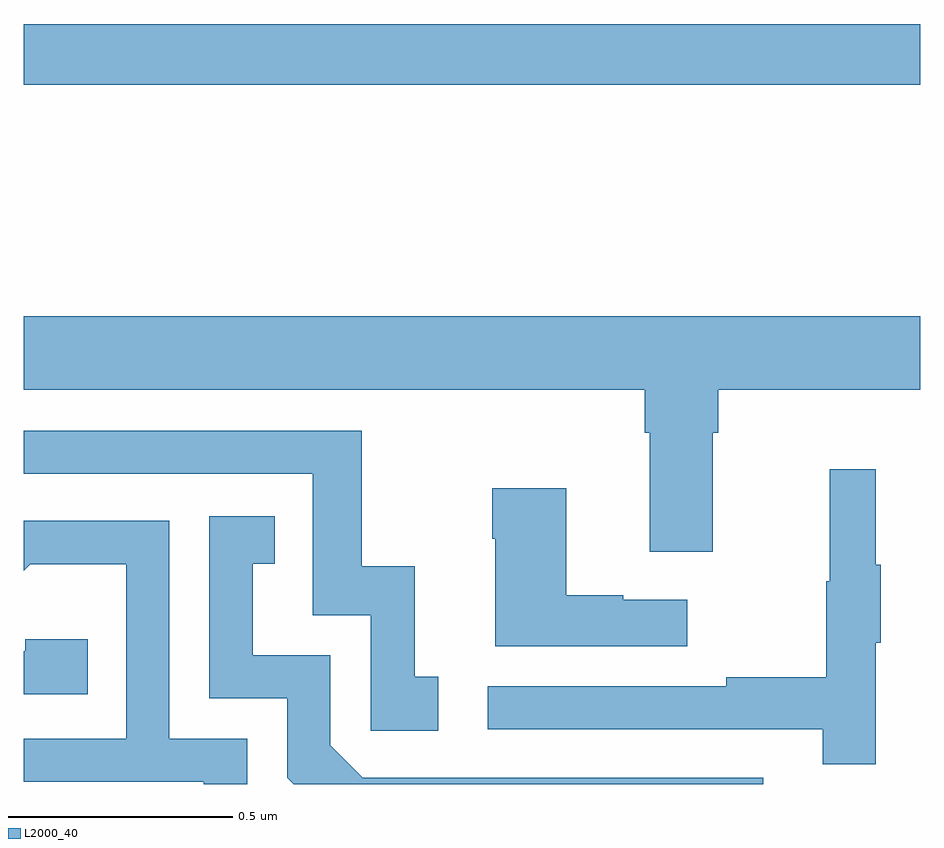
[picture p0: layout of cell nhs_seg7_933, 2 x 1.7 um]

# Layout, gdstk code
import gdstk
lib = gdstk.Library(unit=1e-6, precision=1e-09)
def R(c, l, rs):  # rectangles x0, y0, x1, y1
    for r in rs: c.add(gdstk.rectangle(r[:2], r[2:], *l))
def P(c, l, *ps):  # polygons
    for p in ps: c.add(gdstk.Polygon(p, *l))
L2000_40 = (2000, 40)

nhs_seg7_933 = lib.new_cell('nhs_seg7_933')
R(nhs_seg7_933, L2000_40, [(123,1070.56,125,1070.696)])
P(nhs_seg7_933, L2000_40, [(124.537,1069.784),(124.55,1069.784),(124.55,1069.88),(125,1069.88),(125,1070.044),(123,1070.044),(123,1069.88),(124.385,1069.88),(124.385,1069.784),(124.397,1069.784),(124.397,1069.518),(124.537,1069.518)],
  [(123.925,1069.239),(123.872,1069.239),(123.872,1069.486),(123.754,1069.486),(123.754,1069.788),(123,1069.788),(123,1069.692),(123.645,1069.692),(123.645,1069.377),(123.774,1069.377),(123.774,1069.119),(123.925,1069.119)],
  [(124.901,1069.315),(124.912,1069.315),(124.912,1069.489),(124.901,1069.489),(124.901,1069.702),(124.798,1069.702),(124.798,1069.452),(124.791,1069.452),(124.791,1069.238),(124.567,1069.238),(124.567,1069.218),(124.035,1069.218),(124.035,1069.122),(124.783,1069.122),(124.783,1069.044),(124.901,1069.044)],
  [(124.48,1069.411),(124.337,1069.411),(124.337,1069.421),(124.21,1069.421),(124.21,1069.66),(124.045,1069.66),(124.045,1069.547),(124.052,1069.547),(124.052,1069.307),(124.48,1069.307)],
  [(124.65,1069.014),(123.756,1069.014),(123.684,1069.086),(123.684,1069.287),(123.511,1069.287),(123.511,1069.491),(123.56,1069.491),(123.56,1069.597),(123.414,1069.597),(123.414,1069.191),(123.588,1069.191),(123.588,1069.014),(123.602,1069),(124.65,1069)],
  [(123.498,1069.101),(123.324,1069.101),(123.324,1069.587),(123,1069.587),(123,1069.476),(123.014,1069.49),(123.228,1069.49),(123.228,1069.101),(123,1069.101),(123,1069.005),(123.401,1069.005),(123.401,1069),(123.498,1069)],
  [(123.143,1069.323),(123.003,1069.323),(123.003,1069.296),(123,1069.296),(123,1069.2),(123.143,1069.2)])

lib.write_gds('nhs_seg7_933.gds')
